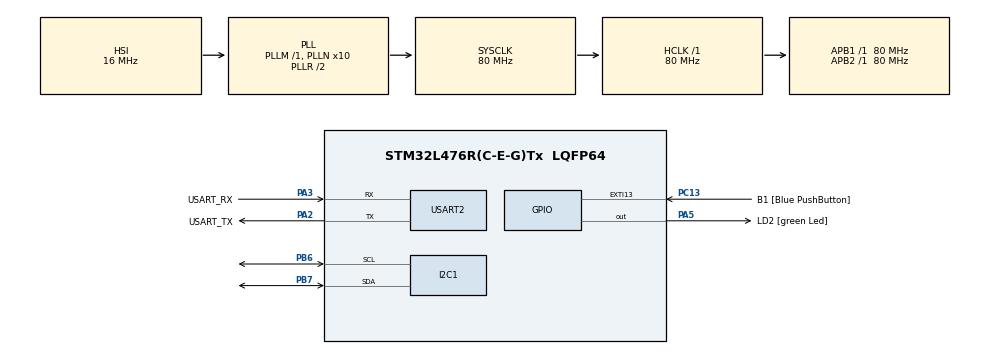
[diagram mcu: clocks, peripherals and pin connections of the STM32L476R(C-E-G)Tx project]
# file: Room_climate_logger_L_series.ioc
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I2C1.Timing=0x10D19CE4
Mcu.Family=STM32L4
Mcu.Name=STM32L476R(C-E-G)Tx
Mcu.Package=LQFP64
NVIC.PriorityGroup=NVIC_PRIORITYGROUP_4
PA13\ (JTMS-SWDIO).GPIO_Label=TMS
PA13\ (JTMS-SWDIO).Mode=Serial_Wire
PA13\ (JTMS-SWDIO).Signal=SYS_JTMS-SWDIO
PA14\ (JTCK-SWCLK).GPIO_Label=TCK
PA14\ (JTCK-SWCLK).Mode=Serial_Wire
PA14\ (JTCK-SWCLK).Signal=SYS_JTCK-SWCLK
PA2.GPIO_Label=USART_TX
PA2.GPIO_Mode=GPIO_MODE_AF_PP
PA2.GPIO_PuPd=GPIO_NOPULL
PA2.GPIO_Speed=GPIO_SPEED_FREQ_VERY_HIGH
PA2.Mode=Asynchronous
PA2.Signal=USART2_TX
PA3.GPIO_Label=USART_RX
PA3.GPIO_Mode=GPIO_MODE_AF_PP
PA3.GPIO_PuPd=GPIO_NOPULL
PA3.GPIO_Speed=GPIO_SPEED_FREQ_VERY_HIGH
PA3.Mode=Asynchronous
PA3.Signal=USART2_RX
PA5.GPIO_Label=LD2 [green Led]
PA5.GPIO_ModeDefaultOutputPP=GPIO_MODE_OUTPUT_PP
PA5.GPIO_PuPd=GPIO_NOPULL
PA5.GPIO_Speed=GPIO_SPEED_FREQ_LOW
PA5.Signal=GPIO_Output
PB3\ (JTDO-TRACESWO).GPIO_Label=SWO
PB3\ (JTDO-TRACESWO).Signal=SYS_JTDO-SWO
PB6.Mode=I2C
PB6.Signal=I2C1_SCL
PB7.Mode=I2C
PB7.Signal=I2C1_SDA
PC13.GPIO_Label=B1 [Blue PushButton]
PC13.GPIO_ModeDefaultEXTI=GPIO_MODE_IT_FALLING
PC13.GPIO_PuPd=GPIO_NOPULL
PC13.Signal=GPXTI13
PC14-OSC32_IN\ (PC14).Mode=LSE-External-Oscillator
PC14-OSC32_IN\ (PC14).Signal=RCC_OSC32_IN
PC15-OSC32_OUT\ (PC15).Mode=LSE-External-Oscillator
PC15-OSC32_OUT\ (PC15).Signal=RCC_OSC32_OUT
PH0-OSC_IN\ (PH0).Signal=RCC_OSC_IN
PH1-OSC_OUT\ (PH1).Signal=RCC_OSC_OUT
ProjectManager.HeapSize=0x200
ProjectManager.StackSize=0x400
ProjectManager.TargetToolchain=STM32CubeIDE
RCC.ADCFreq_Value=64000000
RCC.AHBFreq_Value=80000000
RCC.APB1Freq_Value=80000000
RCC.APB1TimFreq_Value=80000000
RCC.APB2Freq_Value=80000000
RCC.APB2TimFreq_Value=80000000
RCC.CortexFreq_Value=80000000
RCC.HCLKFreq_Value=80000000
RCC.HSE_VALUE=8000000
RCC.HSI_VALUE=16000000
RCC.MSI_VALUE=4000000
RCC.PLLN=10
RCC.PLLSourceVirtual=RCC_PLLSOURCE_HSI
RCC.PREFETCH_ENABLE=1
RCC.SYSCLKFreq_VALUE=80000000
RCC.SYSCLKSource=RCC_SYSCLKSOURCE_PLLCLK
RCC.USBFreq_Value=64000000
RCC.VCOOutputFreq_Value=160000000
USART2.VirtualMode-Asynchronous=VM_ASYNC
board=NUCLEO-L476RG

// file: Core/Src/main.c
/* USER CODE BEGIN Header */
/**
 ******************************************************************************
 * @file           : main.c
 * @brief          : Main program body
 ******************************************************************************
 * @attention
 *
 * Copyright (c) 2025 STMicroelectronics.
 * All rights reserved.
 *
 * This software is licensed under terms that can be found in the LICENSE file
 * in the root directory of this software component.
 * If no LICENSE file comes with this software, it is provided AS-IS.
 *
 ******************************************************************************
 */
/* USER CODE END Header */
#include "main.h"
#include "i2c.h"
#include "usart.h"
#include "gpio.h"

/* USER CODE BEGIN Includes */
#include <string.h>
#include <stdio.h>
#include "OPT3001.h"
#include "TMP007.h"
#include "BMI160.h"
/* USER CODE END Includes */

void SystemClock_Config(void);

int main(void)
{

	/* MCU Configuration--------------------------------------------------------*/

	/* Reset of all peripherals, Initializes the Flash interface and the Systick. */
	HAL_Init();

	/* Configure the system clock */
	SystemClock_Config();

	/* Initialize all configured peripherals */
	MX_GPIO_Init();
	MX_USART2_UART_Init();
	MX_I2C1_Init();
	/* USER CODE BEGIN 2 */
	read_OPT3001_dev_ID();
	TMP007_Init();
	BMI160_Init();

	int16_t ax, ay, az, gx, gy, gz;
	/* USER CODE END 2 */

	/* Infinite loop */
	while (1)
	{

		/* USER CODE BEGIN 3 */
		///////////////////////////////// temperature

		TMP007_ReadTemp();
		HAL_Delay(1000);

		///////////////////////////////////// light sensor

		GetOPT3001LightRes();
		HAL_Delay(1000);

//		////////////////////////////BMI160 sensor
		BMI160_ReadAccel(&ax, &ay, &az);
		BMI160_ReadGyro(&gx, &gy, &gz);
		HAL_Delay(1000);
	}
	/* USER CODE END 3 */
}

void SystemClock_Config(void)
{
	RCC_OscInitTypeDef RCC_OscInitStruct = {0};
	RCC_ClkInitTypeDef RCC_ClkInitStruct = {0};

	/** Configure the main internal regulator output voltage
	 */
	if (HAL_PWREx_ControlVoltageScaling(PWR_REGULATOR_VOLTAGE_SCALE1) != HAL_OK)
	{
		Error_Handler();
	}

	/** Initializes the RCC Oscillators according to the specified parameters
	 * in the RCC_OscInitTypeDef structure.
	 */
	RCC_OscInitStruct.OscillatorType = RCC_OSCILLATORTYPE_HSI;
	RCC_OscInitStruct.HSIState = RCC_HSI_ON;
	RCC_OscInitStruct.HSICalibrationValue = RCC_HSICALIBRATION_DEFAULT;
	RCC_OscInitStruct.PLL.PLLState = RCC_PLL_ON;
	RCC_OscInitStruct.PLL.PLLSource = RCC_PLLSOURCE_HSI;
	RCC_OscInitStruct.PLL.PLLM = 1;
	RCC_OscInitStruct.PLL.PLLN = 10;
	RCC_OscInitStruct.PLL.PLLP = RCC_PLLP_DIV7;
	RCC_OscInitStruct.PLL.PLLQ = RCC_PLLQ_DIV2;
	RCC_OscInitStruct.PLL.PLLR = RCC_PLLR_DIV2;
	if (HAL_RCC_OscConfig(&RCC_OscInitStruct) != HAL_OK)
	{
		Error_Handler();
	}

	/** Initializes the CPU, AHB and APB buses clocks
	 */
	RCC_ClkInitStruct.ClockType = RCC_CLOCKTYPE_HCLK|RCC_CLOCKTYPE_SYSCLK
			|RCC_CLOCKTYPE_PCLK1|RCC_CLOCKTYPE_PCLK2;
	RCC_ClkInitStruct.SYSCLKSource = RCC_SYSCLKSOURCE_PLLCLK;
	RCC_ClkInitStruct.AHBCLKDivider = RCC_SYSCLK_DIV1;
	RCC_ClkInitStruct.APB1CLKDivider = RCC_HCLK_DIV1;
	RCC_ClkInitStruct.APB2CLKDivider = RCC_HCLK_DIV1;

	if (HAL_RCC_ClockConfig(&RCC_ClkInitStruct, FLASH_LATENCY_4) != HAL_OK)
	{
		Error_Handler();
	}
}

void Error_Handler(void)
{
	__disable_irq();
	while (1)
	{
	}
}
